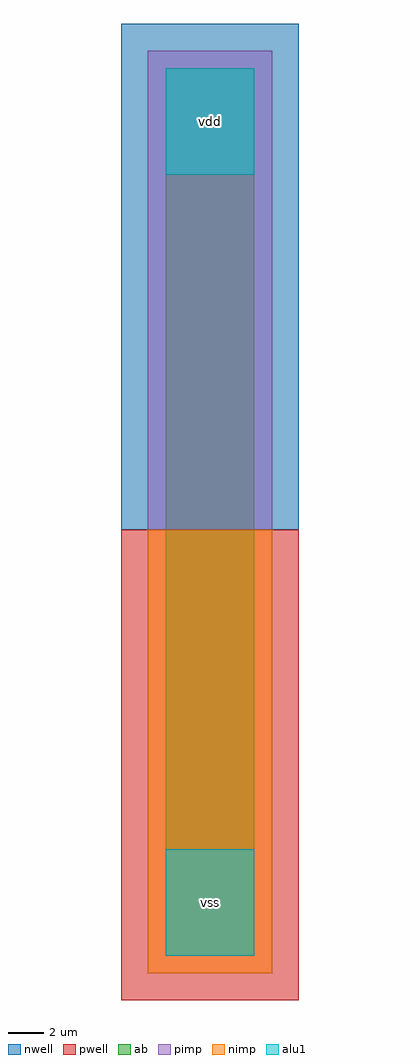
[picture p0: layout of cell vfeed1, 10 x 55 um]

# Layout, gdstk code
import gdstk
lib = gdstk.Library(unit=1e-6, precision=1e-09)
def R(c, l, rs):  # rectangles x0, y0, x1, y1
    for r in rs: c.add(gdstk.rectangle(r[:2], r[2:], *l))
pwell = (41, 0)
nwell = (42, 0)
pimp = (44, 0)
nimp = (45, 0)
alu1 = (49, 0)
ab = (63, 0)

vfeed1 = lib.new_cell('vfeed1')
R(vfeed1, pwell, [(-2.5,-2.5,7.5,24)])
R(vfeed1, nwell, [(-2.5,24,7.5,52.5)])
R(vfeed1, pimp, [(-1,24,6,51)])
R(vfeed1, nimp, [(-1,-1,6,24)])
R(vfeed1, alu1, [(0,0,5,6), (0,0,5,6), (0,44,5,50), (0,44,5,50)])
R(vfeed1, ab, [(0,0,5,50)])
vfeed1.add(gdstk.Label('vss', (2.5,3), layer=49, texttype=0))
vfeed1.add(gdstk.Label('vdd', (2.5,47), layer=49, texttype=0))

lib.write_gds('vfeed1.gds')
